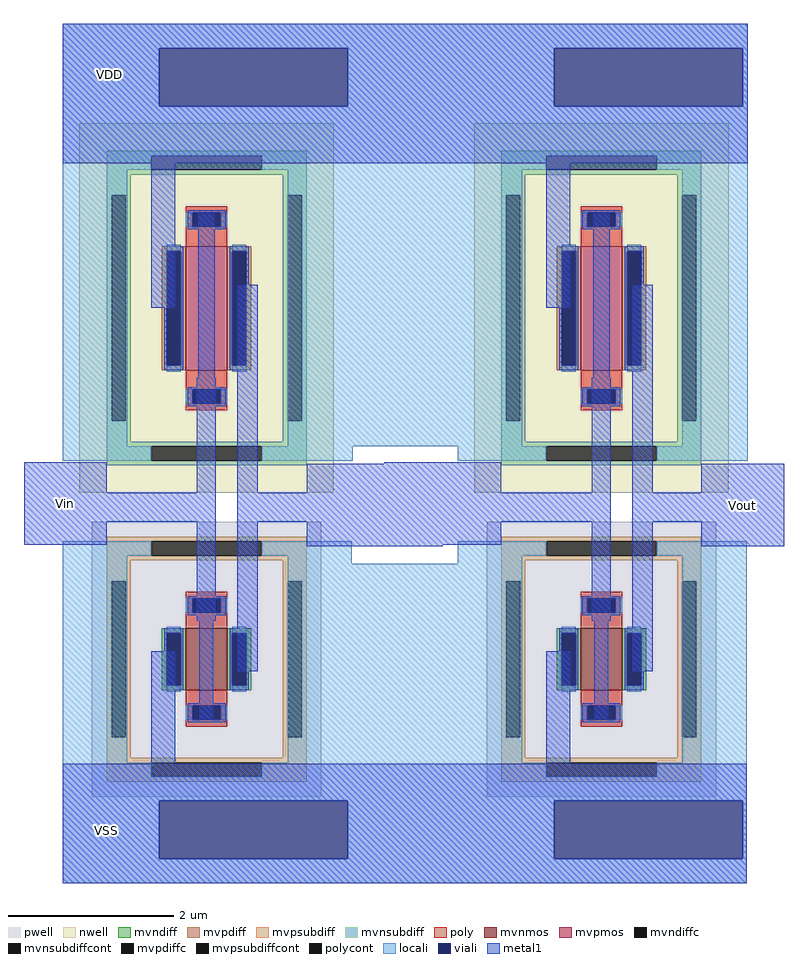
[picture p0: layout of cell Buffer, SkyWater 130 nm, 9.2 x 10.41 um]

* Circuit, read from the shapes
.subckt Buffer VDD VSS Vin Vout
XM1 x2/Vin Vin VSS VSS sky130_fd_pr__nfet_g5v0d10v5 w=0.75 l=0.5
XM2 Vout x2/Vin VSS VSS sky130_fd_pr__nfet_g5v0d10v5 w=0.75 l=0.5
XM3 x2/Vin Vin VDD VDD sky130_fd_pr__pfet_g5v0d10v5 w=1.5 l=0.5
XM4 Vout x2/Vin VDD VDD sky130_fd_pr__pfet_g5v0d10v5 w=1.5 l=0.5
.ends

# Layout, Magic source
magic
tech sky130B
<< locali >>
rect 1327 1553 1454 1721
rect 1326 1209 1454 1553
rect 1326 680 1454 1067
<< metal1 >>
rect 982 1609 1082 1709
rect 1327 1552 1454 1721
rect 929 1090 1029 1190
rect 1365 1088 1436 1190
rect 1749 1088 1849 1188
rect 979 694 1079 794
rect 1326 680 1454 825
use Inverter  x1
transform 1 0 481 0 1 902
box 448 -222 890 819
use Inverter  x2
transform 1 0 959 0 1 902
box 448 -222 890 819
<< labels >>
flabel metal1 929 1090 1029 1190 0 FreeSans 128 0 0 0 Vin
port 2 nsew
flabel metal1 1749 1088 1849 1188 0 FreeSans 128 0 0 0 Vout
port 3 nsew
flabel metal1 982 1609 1082 1709 0 FreeSans 128 0 0 0 VDD
port 0 nsew
flabel metal1 979 694 1079 794 0 FreeSans 128 0 0 0 VSS
port 1 nsew
<< end >>

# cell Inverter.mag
magic
tech sky130B
magscale 1 2
<< locali >>
rect 990 1578 1692 1638
rect 990 1438 1224 1578
rect 1680 1438 1692 1578
rect 990 1286 1692 1438
rect 990 584 1146 1286
rect 1534 584 1692 1286
rect 990 580 1112 584
rect 1568 580 1692 584
rect 990 382 1108 384
rect 1568 382 1690 384
rect 990 -186 1146 382
rect 1534 -186 1690 382
rect 990 -244 1690 -186
rect 990 -384 1224 -244
rect 1680 -384 1690 -244
rect 990 -444 1690 -384
<< viali >>
rect 1224 1438 1680 1578
rect 1224 -384 1680 -244
<< metal1 >>
rect 990 1578 1692 1638
rect 990 1438 1224 1578
rect 1680 1438 1692 1578
rect 990 1300 1692 1438
rect 1204 950 1262 1300
rect 1318 780 1358 1178
rect 1438 1004 1462 1006
rect 896 502 1096 576
rect 1314 502 1360 780
rect 896 432 1360 502
rect 896 376 1096 432
rect 1314 192 1360 432
rect 1412 502 1462 1004
rect 1580 502 1780 572
rect 1412 432 1780 502
rect 1204 -154 1262 118
rect 1320 -48 1354 192
rect 1412 70 1462 432
rect 1580 372 1780 432
rect 990 -244 1690 -154
rect 990 -384 1224 -244
rect 1680 -384 1690 -244
rect 990 -444 1690 -384
use sky130_fd_pr__nfet_g5v0d10v5_6XHARQ  XM1 ~/Project/magic
transform 1 0 1338 0 1 99
box -278 -333 278 333
use sky130_fd_pr__pfet_g5v0d10v5_7EBZY6  XM2 ~/Project/magic
transform 1 0 1338 0 1 949
box -308 -447 308 447
<< labels >>
flabel metal1 1002 1414 1202 1614 0 FreeSans 256 0 0 0 VDD
port 1 nsew
flabel metal1 1000 -420 1200 -220 0 FreeSans 256 0 0 0 VSS
port 2 nsew
flabel metal1 896 376 1096 576 0 FreeSans 256 0 0 0 Vin
port 0 nsew
flabel metal1 1580 372 1780 572 0 FreeSans 256 0 0 0 Vout
port 3 nsew
<< end >>

# cell sky130_fd_pr__nfet_g5v0d10v5_6XHARQ: kit device sky130_fd_pr__nfet_g5v0d10v5, w 0.75 l 0.5 m 1 nf 1 diffcov 100 polycov 100 guard 1 glc 1 grc 1 gtc 1 gbc 1 tbcov 100 rlcov 100 topc 1 botc 1 poverlap 0 doverlap 1 lmin 0.50 wmin 0.42 compatible {sky130_fd_pr__nfet_01v8 sky130_fd_pr__nfet_01v8_lvt sky130_fd_bs_flash__special_sonosfet_star sky130_fd_pr__nfet_g5v0d10v5 sky130_fd_pr__nfet_05v0_nvt sky130_fd_pr__nfet_03v3_nvt} full_metal 1 viasrc 100 viadrn 100 viagate 100 viagb 0 viagr 0 viagl 0 viagt 0

# cell sky130_fd_pr__pfet_g5v0d10v5_7EBZY6: kit device sky130_fd_pr__pfet_g5v0d10v5, w 1.5 l 0.5 m 1 nf 1 diffcov 100 polycov 100 guard 1 glc 1 grc 1 gtc 1 gbc 1 tbcov 100 rlcov 100 topc 1 botc 1 poverlap 0 doverlap 1 lmin 0.50 wmin 0.42 compatible {sky130_fd_pr__pfet_01v8 sky130_fd_pr__pfet_01v8_lvt sky130_fd_pr__pfet_01v8_hvt sky130_fd_pr__pfet_g5v0d10v5} full_metal 1 viasrc 100 viadrn 100 viagate 100 viagb 0 viagr 0 viagl 0 viagt 0
